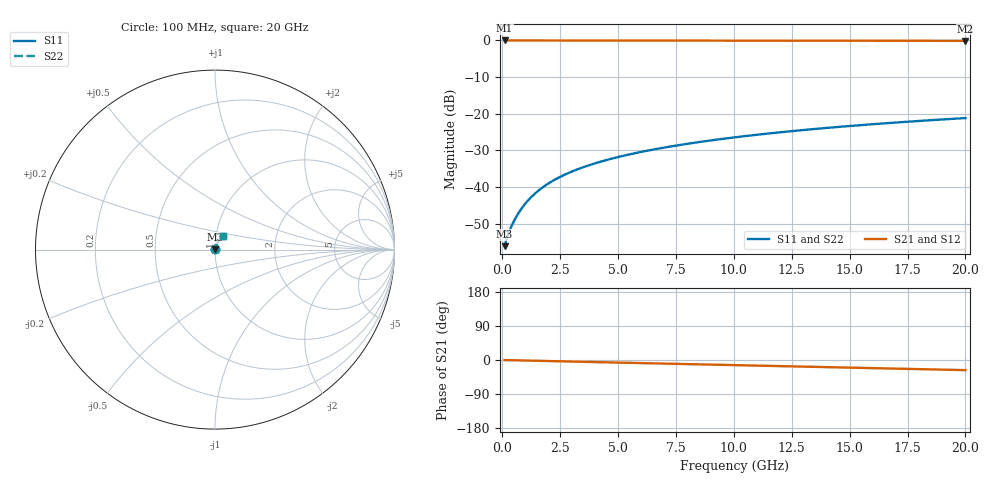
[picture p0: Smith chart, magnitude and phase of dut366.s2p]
! Touchstone file exported from HFSS 2026.1.0
!  File:  C:/ffzhzh/LocalFiles/Ansys_Project_Files/temp_train_TMRDL_366_1783004265_46388.aedt
!  Generated:  10:59:22 PM Jul  2, 2026
!  Design:  TMRDL
!  Project:  temp_train_TMRDL_366_1783004265_46388
! Variables:
!  h_bsmrdl = 2um
!  h_ox = 20um
!  h_rdl = 5um
!  h_sub = 80um
!  h_tmrdl = 5.07um
!  h_tsv = 80um
!  h_via = 3um
!  l_bsmrdl = 300um
!  l_sub = 852.87um
!  l_tmrdl = 452.87um
!  m_sub = 200um
!  pitch = 39.46um
!  r_tsv = 6um
!  s_tmrdl = 10um
!  w_bsmrdl = 18um
!  w_sub = 500um
!  w_tmrdl = 29.8um
!  x_tsv_center1 = 467.77um
!  x_tsv_center2 = 785.77um
!  x_tsv_center3 = 1268.44um
!  x_tsv_center4 = 1586.44um
!  x_tsv_center5 = 2069.11um
!  x_tsv_center6 = 2387.11um
# GHz S MA R 50.000000
! Terminal data exported
! Port[1] = TM_RDL1_1_T1
! Port[2] = TM_RDL1_1_T2
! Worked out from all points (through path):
!   200 points, 100 MHz to 20 GHz, reference 50 ohm
!   highest |S21| = -0.01 dB at 100 MHz (marker M1); lowest = -0.1 dB at 20 GHz (marker M2)
!   group delay of S21, straight-line fit = 3.7 ps
!   lowest |S11| = -56.2 dB at 100 MHz (marker M3), VSWR 1.00, Z = 50.1 + j0.0811 ohm
!   |S11| at or under -10 dB: start of sweep to end of sweep
!   |S22| runs from -56.2 to -21.2 dB; largest |S21 - S12| = 2e-15
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0.1  0.001556 31.3  0.9987 -0.2  0.9987 -0.2  0.001556 31.3
! Gamma 0 0 0 0
! Port Impedance 50 0 50 0
0.2  0.002041 42.0  0.9985 -0.3  0.9985 -0.3  0.002037 42.0
0.3  0.002477 49.3  0.9983 -0.4  0.9983 -0.4  0.002471 49.4
0.5  0.0034 59.4  0.9981 -0.7  0.9981 -0.7  0.003396 59.5
0.6  0.003893 62.7  0.9981 -0.9  0.9981 -0.9  0.00389 62.8
0.8  0.004915 67.3  0.998 -1.1  0.998 -1.1  0.004914 67.4
1  0.005963 70.1  0.9979 -1.4  0.9979 -1.4  0.005964 70.1
1.2  0.00702 71.8  0.9978 -1.7  0.9978 -1.7  0.007023 71.9
1.4  0.008077 73.0  0.9977 -2.0  0.9977 -2.0  0.008081 73.0
1.7  0.009652 74.0  0.9976 -2.4  0.9976 -2.4  0.009656 74.0
2.2  0.01223 74.6  0.9973 -3.1  0.9973 -3.1  0.01223 74.6
2.8  0.01523 74.7  0.9969 -3.9  0.9969 -3.9  0.01524 74.7
3.5  0.01863 74.4  0.9964 -4.8  0.9964 -4.8  0.01863 74.4
4.2  0.02192 73.9  0.9958 -5.8  0.9958 -5.8  0.02192 73.9
5  0.0256 73.3  0.9953 -6.9  0.9953 -6.9  0.0256 73.3
5.9  0.02965 72.5  0.9947 -8.1  0.9947 -8.1  0.02965 72.5
6.8  0.03364 71.7  0.9941 -9.3  0.9941 -9.3  0.03363 71.7
8.3  0.04016 70.2  0.9932 -11.3  0.9932 -11.3  0.04015 70.3
10.1  0.04783 68.4  0.9922 -13.7  0.9922 -13.7  0.04782 68.4
13.4  0.06148 64.8  0.9905 -18.0  0.9905 -18.0  0.06146 64.9
16.7  0.07461 61.1  0.9887 -22.4  0.9887 -22.4  0.07459 61.2
20  0.08715 57.2  0.9868 -26.7  0.9868 -26.7  0.08712 57.3
